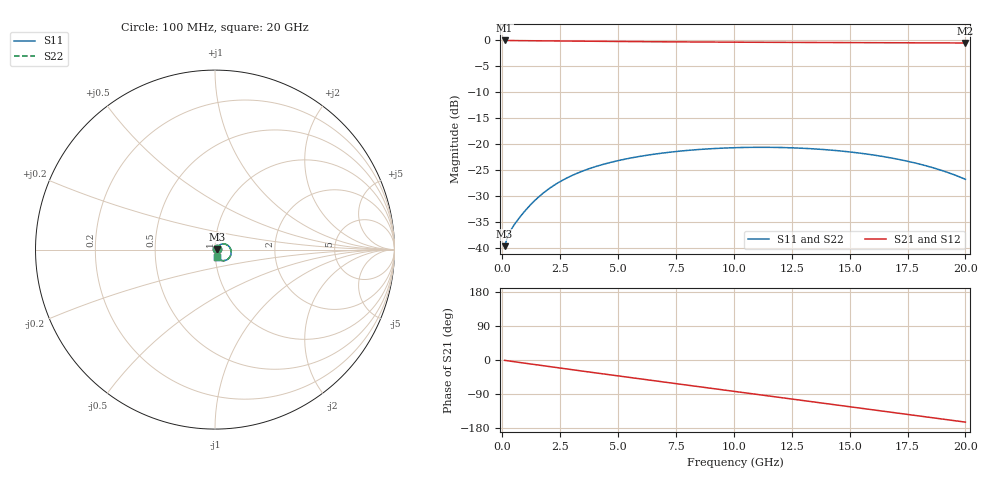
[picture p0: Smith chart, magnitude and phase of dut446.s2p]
! Touchstone file exported from HFSS 2026.1.0
!  File:  C:/ffzhzh/LocalFiles/Ansys_Project_Files/temp_train_TSV_RDL_446_1783099326_50312.aedt
!  Generated:  01:30:56 AM Jul  4, 2026
!  Design:  TSV_RDL
!  Project:  temp_train_TSV_RDL_446_1783099326_50312
! Variables:
!  h_bsmrdl = 5.97um
!  h_ox = 20um
!  h_rdl = 5um
!  h_sub = 60.61um
!  h_tmrdl = 5.58um
!  h_tsv = 60.61um
!  h_via = 3um
!  l_bsmrdl = 604.44um
!  l_sub = 2845.97um
!  l_tmrdl = 130.15um
!  m_sub = 200um
!  pitch = 25.1um
!  r_tsv = 7.76um
!  s_tmrdl = 10um
!  w_bsmrdl = 16.75um
!  w_sub = 500um
!  w_tmrdl = 20.6um
!  x_tsv_center1 = 140.45um
!  x_tsv_center2 = 761.64um
!  x_tsv_center3 = 912.39um
!  x_tsv_center4 = 1533.58um
!  x_tsv_center5 = 1684.33um
!  x_tsv_center6 = 2305.52um
# GHz S MA R 50.000000
! Terminal data exported
! Port[1] = TM_RDL1_1_T1
! Port[2] = TM_RDL5_1_T1
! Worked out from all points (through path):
!   200 points, 100 MHz to 20 GHz, reference 50 ohm
!   highest |S21| = -0.09 dB at 100 MHz (marker M1); lowest = -0.6 dB at 20 GHz (marker M2)
!   group delay of S21, straight-line fit = 22.7 ps
!   lowest |S11| = -39.7 dB at 100 MHz (marker M3), VSWR 1.02, Z = 51 + j0.294 ohm
!   |S11| at or under -10 dB: start of sweep to end of sweep
!   |S22| runs from -39.7 to -20.6 dB; largest |S21 - S12| = 4.5e-14
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0.1  0.01038 16.1  0.9901 -0.9  0.9901 -0.9  0.01038 16.1
! Gamma 0 0 0 0
! Port Impedance 50 0 50 0
0.2  0.01217 24.5  0.9891 -1.8  0.9891 -1.8  0.01217 24.5
0.3  0.01381 28.7  0.9882 -2.7  0.9882 -2.7  0.01381 28.7
0.5  0.01649 34.0  0.987 -4.4  0.987 -4.4  0.01649 34.0
0.9  0.0216 41.0  0.9855 -7.8  0.9855 -7.8  0.0216 41.0
1.4  0.0285 44.3  0.9838 -12.0  0.9838 -12.0  0.0285 44.3
1.8  0.0341 44.3  0.9822 -15.4  0.9822 -15.4  0.0341 44.3
2.3  0.04086 42.6  0.98 -19.6  0.98 -19.6  0.04086 42.6
2.9  0.04839 39.1  0.9771 -24.6  0.9771 -24.6  0.04838 39.1
3.5  0.05517 35.1  0.9742 -29.6  0.9742 -29.6  0.05517 35.1
4.2  0.06217 30.0  0.9711 -35.4  0.9711 -35.4  0.06217 30.0
5  0.06908 24.2  0.9677 -42.0  0.9677 -42.0  0.06908 24.2
6.8  0.08105 11.2  0.9614 -56.6  0.9614 -56.6  0.08104 11.2
8.5  0.08844 -0.9  0.9566 -70.5  0.9566 -70.5  0.08843 -0.9
10.1  0.09214 -12.1  0.9528 -83.5  0.9528 -83.5  0.09213 -12.1
11.7  0.0927 -23.2  0.9495 -96.4  0.9495 -96.4  0.09268 -23.2
12.5  0.09178 -28.7  0.948 -102.9  0.948 -102.9  0.09177 -28.7
13.4  0.0898 -34.9  0.9465 -110.2  0.9465 -110.2  0.08979 -34.9
15  0.08379 -45.5  0.9439 -123.2  0.9439 -123.2  0.08379 -45.5
16.7  0.07398 -56.4  0.9413 -137.1  0.9413 -137.1  0.07397 -56.4
18.5  0.05992 -66.9  0.9387 -151.7  0.9387 -151.7  0.05992 -66.9
20  0.04566 -73.6  0.9365 -163.9  0.9365 -163.9  0.04566 -73.7
